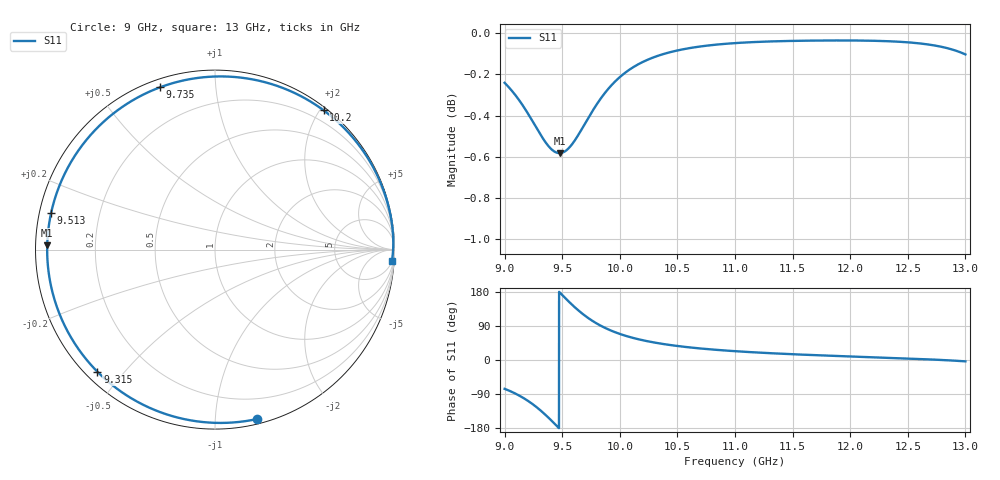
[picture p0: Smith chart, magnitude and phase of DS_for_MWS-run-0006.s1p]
! TOUCHSTONE file generated by CST DESIGN STUDIO
! Date and time: Tue Feb  4 13:16:03 2025
! Project name: C:\Work\MatlabApps\UnitCellOptimizationMatlab\CST\unitcell.cst
! Tree item: Tasks\Sweep1\SPara1\S-Parameters
! Header version: 2024
! Port assignment regex: !\s*Touchstone port\s*([0-9]+)\s*=\s*(CST MWS port|CST DES external port|CST DES block port)\s*(.+)\s* \(\"(.*)\"\)(\s*mode\s*([0-9]+))?.*
! Touchstone port assignment:
! Touchstone port 1 = CST DES external port 1 ("")
# GHz S MA R 50
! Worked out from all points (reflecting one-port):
!   4001 points, 9 GHz to 13 GHz, reference 50 ohm
!   lowest |S11| = -0.6 dB at 9.477 GHz (marker M1), VSWR 29.82, Z = 1.68 + j0.622 ohm
!   phase of S11 starts at -76 deg and turns -288 deg over the sweep
!   S11 on the Smith chart (normalised r, x): 9 GHz: 0.04, -1.28; 9.315 GHz: 0.03, -0.42; 9.513 GHz: 0.03, +0.11; 9.735 GHz: 0.04, +0.72; 10.2 GHz: 0.04, +2.05; 13 GHz: 6, -31
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9  0.9727 -76.0
9.082  0.9669 -86.9
9.181  0.9582 -103.6
9.25  0.9512 -118.0
9.315  0.9445 -133.9
9.358  0.9406 -145.6
9.403  0.9373 -158.7
9.441  0.9357 -170.3
9.477  0.9351 178.6
9.5  0.9353 171.4
9.513  0.9357 167.4
9.565  0.9383 151.8
9.626  0.9433 134.7
9.679  0.9487 121.3
9.735  0.9546 108.8
9.787  0.9598 98.6
9.846  0.9651 88.6
9.921  0.9709 78.0
10  0.9758 68.8
10.095  0.9803 59.9
10.201  0.9841 52.0
10.338  0.9876 44.1
10.5  0.9904 37.0
11  0.9945 23.3
11.5  0.9957 15.2
12  0.996 9.4
12.5  0.9949 3.9
13  0.9882 -3.6
